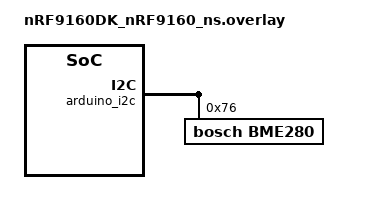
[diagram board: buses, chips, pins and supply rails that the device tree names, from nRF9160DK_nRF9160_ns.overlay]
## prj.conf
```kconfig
CONFIG_SERIAL=y

# Enable Software Modules for BME280 Sensor Driver Usage
CONFIG_I2C=y
CONFIG_SENSOR=y

# Enable LTE Modem Lib and Link Control
CONFIG_NRF_MODEM_LIB=y
CONFIG_LTE_LINK_CONTROL=y
CONFIG_LTE_AUTO_INIT_AND_CONNECT=n
CONFIG_LTE_NETWORK_MODE_LTE_M=y
CONFIG_LTE_NETWORK_MODE_NBIOT=n

# Enable Zephyr BSD Sockets + use Modem FW IP Stack
CONFIG_NETWORKING=y
CONFIG_NET_NATIVE=n
CONFIG_NET_SOCKETS=y
CONFIG_NET_SOCKETS_OFFLOAD=y

# Heap and stack size
CONFIG_HEAP_MEM_POOL_SIZE=1024
CONFIG_MAIN_STACK_SIZE=4096
```

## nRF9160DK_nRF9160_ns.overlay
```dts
/* Configuration of a BME280 device on an Arduino I2C bus.
   -------------------------------------------------------
   Device Address 0x76 is used here. Selected Pins:
        SCL  ->  P0.31
        SDA  ->  P0.30
*/

&arduino_i2c {
        status = "okay";
        bme280@76 {
                compatible = "bosch,bme280";
                reg = <0x76>;
        };
};
```

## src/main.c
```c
#include <zephyr.h>
#include <sys/printk.h>
#include <zephyr/device.h>
#include <zephyr/drivers/sensor.h>

/* Code addons for UDP data sample */
#include <stdio.h>                  // sprintf - standard C IO calls
/* LTE Modem Header Files */
#include <modem/lte_lc.h>           // Link Control Functionality
#include <zephyr/net/socket.h>      // Zephyr Socket Functionality

/* UDP Sample Defines */
#define MY_NAME "Kevin-Nordic"
#define UDP_SERVER_ADDRESS "173.249.8.201"
#define UDP_SERVER_PORT 25000
#define UDP_TRANSMISSION_INTERVAL 30

/* Static, global definitions */
static int socket_client;
static struct sockaddr_storage host_addr;
static char data_buffer[64];

/* Modem init and connect function */
#if defined(CONFIG_NRF_MODEM_LIB)
static int modem_init_and_connect(void)
{
	int err;
    printk("Initializing modem and connecting to LTE network...\n");

	if (IS_ENABLED(CONFIG_LTE_AUTO_INIT_AND_CONNECT)) {
		/* Do nothing, modem is already configured and LTE connected. */
	} else {
        err = lte_lc_init_and_connect();
		if (err) {
			printk("Init/Connect to LTE network failed, error: %d\n", err);
			return err;
		}
	}
    printk("LTE connection successful.\n");
	return 0;
}
#endif

/* Init UDP Socket */
static int socket_init(void)
{
	struct sockaddr_in *server4 = ((struct sockaddr_in *)&host_addr);

	server4->sin_family = AF_INET;
	server4->sin_port = htons(UDP_SERVER_PORT);

	inet_pton(AF_INET, UDP_SERVER_ADDRESS, &server4->sin_addr);

	return 0;
}

/* Close UDP Socket */
static void socket_close(void)
{
	(void)close(socket_client);
}

/* Connect UDP Socket */
static int socket_connect(void)
{
	int err;

	socket_client = socket(AF_INET, SOCK_DGRAM, IPPROTO_UDP);
	if (socket_client < 0) {
		printk("Failed to create UDP socket: %d\n", errno);
		err = -errno;
		goto error;
	}

	err = connect(socket_client, (struct sockaddr *)&host_addr, sizeof(struct sockaddr_in));
	if (err < 0) {
		printk("Connect failed : %d\n", errno);
		goto error;
	}

	return 0;

error:
	socket_close();

	return err;
}

/*
****************** MAIN ******************
*/

void main(void)
{
	int err;

	printk("MyProject is running!\n");

	const struct device *dev = DEVICE_DT_GET_ANY(bosch_bme280);
	if (dev==NULL){
		//No such node, or the node does not have status "okay"
		printk("\nError: Device \"%s\" is not ready.\n", dev->name);
		return;
	}

	// Modem init and connect
	err = modem_init_and_connect();
	if (err){
		return;
	}

	// Socket init and connect / open
	socket_init();
	socket_connect();

	while(1){
		
		struct sensor_value temp, press, humidity;
		
		sensor_sample_fetch(dev);
		sensor_channel_get(dev, SENSOR_CHAN_AMBIENT_TEMP, &temp);
		sensor_channel_get(dev, SENSOR_CHAN_PRESS, &press);
		sensor_channel_get(dev, SENSOR_CHAN_HUMIDITY, &humidity);
			
		printk("temp: %d.%06d; press: %d.%06d; humidity: %d.%06d\n",
					temp.val1, temp.val2, press.val1, press.val2,
					humidity.val1, humidity.val2);

		// Format sensor data, copy into transmit buffer
		temp.val2 = temp.val2/10000; //shrink fractional part to 2 digits
		sprintf(data_buffer, "[%s -- Temp: %d.%02d C]", MY_NAME, temp.val1, temp.val2);
		
		/* Transmit via UDP data socket */
		err = send(socket_client, data_buffer, strlen(data_buffer), 0);
		if (err < 0) {
			printk("Failed to transmit UDP packet, %d\n", errno);
		}else{
			printk("UDP data sent, content: %s\n", data_buffer);
		}

		k_sleep(K_SECONDS(UDP_TRANSMISSION_INTERVAL));
	}
}
```
